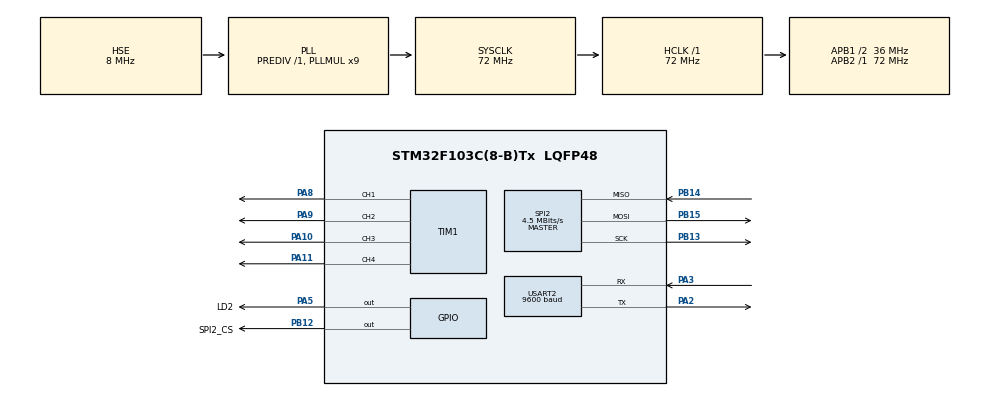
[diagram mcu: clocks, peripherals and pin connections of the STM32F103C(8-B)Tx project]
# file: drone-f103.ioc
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Mcu.Family=STM32F1
Mcu.Name=STM32F103C(8-B)Tx
Mcu.Package=LQFP48
NVIC.PriorityGroup=NVIC_PRIORITYGROUP_4
NVIC.TIM3_IRQn=true\:0\:0\:true\:false\:true\:true\:true\:true
NVIC.TIM4_IRQn=true\:0\:0\:true\:false\:true\:true\:true\:true
NVIC.USART2_IRQn=true\:2\:0\:true\:false\:true\:true\:true\:true
PA10.Signal=S_TIM1_CH3
PA11.Signal=S_TIM1_CH4
PA13.Mode=Serial_Wire
PA13.Signal=SYS_JTMS-SWDIO
PA14.Mode=Serial_Wire
PA14.Signal=SYS_JTCK-SWCLK
PA2.Mode=Asynchronous
PA2.Signal=USART2_TX
PA3.Mode=Asynchronous
PA3.Signal=USART2_RX
PA5.GPIO_Label=LD2
PA5.Signal=GPIO_Output
PA8.Signal=S_TIM1_CH1
PA9.Signal=S_TIM1_CH2
PB12.GPIO_Label=SPI2_CS
PB12.Signal=GPIO_Output
PB13.Mode=Full_Duplex_Master
PB13.Signal=SPI2_SCK
PB14.Mode=Full_Duplex_Master
PB14.Signal=SPI2_MISO
PB15.Mode=Full_Duplex_Master
PB15.Signal=SPI2_MOSI
PC14-OSC32_IN.Mode=LSE-External-Oscillator
PC14-OSC32_IN.Signal=RCC_OSC32_IN
PC15-OSC32_OUT.Mode=LSE-External-Oscillator
PC15-OSC32_OUT.Signal=RCC_OSC32_OUT
PD0-OSC_IN.Mode=HSE-External-Oscillator
PD0-OSC_IN.Signal=RCC_OSC_IN
PD1-OSC_OUT.Mode=HSE-External-Oscillator
PD1-OSC_OUT.Signal=RCC_OSC_OUT
ProjectManager.HeapSize=0x200
ProjectManager.StackSize=0x400
ProjectManager.TargetToolchain=STM32CubeIDE
RCC.AHBFreq_Value=72000000
RCC.APB1CLKDivider=RCC_HCLK_DIV2
RCC.APB1Freq_Value=36000000
RCC.APB1TimFreq_Value=72000000
RCC.APB2Freq_Value=72000000
RCC.APB2TimFreq_Value=72000000
RCC.HCLKFreq_Value=72000000
RCC.PLLMUL=RCC_PLL_MUL9
RCC.PLLSourceVirtual=RCC_PLLSOURCE_HSE
RCC.SYSCLKFreq_VALUE=72000000
RCC.SYSCLKSource=RCC_SYSCLKSOURCE_PLLCLK
RCC.USBFreq_Value=72000000
SH.S_TIM1_CH1.0=TIM1_CH1,PWM Generation1 CH1
SH.S_TIM1_CH2.0=TIM1_CH2,PWM Generation2 CH2
SH.S_TIM1_CH3.0=TIM1_CH3,PWM Generation3 CH3
SH.S_TIM1_CH4.0=TIM1_CH4,PWM Generation4 CH4
SPI2.BaudRatePrescaler=SPI_BAUDRATEPRESCALER_8
SPI2.CalculateBaudRate=4.5 MBits/s
SPI2.Direction=SPI_DIRECTION_2LINES
SPI2.Mode=SPI_MODE_MASTER
SPI2.VirtualType=VM_MASTER
TIM1.AutoReloadPreload=TIM_AUTORELOAD_PRELOAD_ENABLE
TIM1.AutomaticOutput=TIM_AUTOMATICOUTPUT_ENABLE
TIM1.Channel-PWM\ Generation1\ CH1=TIM_CHANNEL_1
TIM1.Channel-PWM\ Generation2\ CH2=TIM_CHANNEL_2
TIM1.Channel-PWM\ Generation3\ CH3=TIM_CHANNEL_3
TIM1.Channel-PWM\ Generation4\ CH4=TIM_CHANNEL_4
TIM3.AutoReloadPreload=TIM_AUTORELOAD_PRELOAD_ENABLE
TIM3.Period=499
TIM3.Prescaler=71
TIM4.Period=999
TIM4.Prescaler=35
USART2.BaudRate=9600
USART2.VirtualMode=VM_ASYNC
VP_TIM3_VS_ClockSourceINT.Mode=Internal
VP_TIM4_VS_ClockSourceINT.Mode=Internal
board=custom

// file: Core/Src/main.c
/* USER CODE BEGIN Header */
/**
 ******************************************************************************
 * @file           : main.c
 * @brief          : Main program body
 ******************************************************************************
 * @attention
 *
 * Copyright (c) 2025 STMicroelectronics.
 * All rights reserved.
 *
 * This software is licensed under terms that can be found in the LICENSE file
 * in the root directory of this software component.
 * If no LICENSE file comes with this software, it is provided AS-IS.
 *
 ******************************************************************************
 */
/* USER CODE END Header */
#include "main.h"
#include "spi.h"
#include "tim.h"
#include "usart.h"
#include "gpio.h"

/* USER CODE BEGIN Includes */
#include <stdio.h>
#include "string.h"
#include "main.h"
#include "tools.h"
#include "usart.h"
#include "hm19.h"
#include "LSM6DS3TR.h"
#include "motor.h"

/* USER CODE END Includes */

/* USER CODE BEGIN PV */
uint8_t rx_data;

/* USER CODE END PV */

void SystemClock_Config(void);

/* USER CODE BEGIN 0 */

void HAL_UART_RxCpltCallback(UART_HandleTypeDef *huart) {
	if (huart->Instance == USART2) {
		if (rx_data == '0') { // Toggle LD2
			HAL_GPIO_TogglePin(GPIOA, GPIO_PIN_5);
		}
		else if(rx_data == '1') { // Test
			IMU_Start();
			HAL_Delay(10);
			Motor_Start();
			Motor_Test();
			Motor_Stop();
		}
		else if(rx_data == '2') { // Start
			IMU_Start();
			Motor_Start();
//			center_duty = MOTOR_TIM->Instance->ARR / 2;
		}
		else if(rx_data == '3') { // Up
			center_duty += (LIMIT_DUTY > center_duty) ? (DELTA_DUTY) : 0;
			if(center_duty > LIMIT_DUTY) center_duty = LIMIT_DUTY;
			HAL_GPIO_TogglePin(GPIOA, GPIO_PIN_5);
		}
		else if(rx_data == '4') { // Down
			center_duty -= (DELTA_DUTY < center_duty) ? (DELTA_DUTY) : 0;
			if(center_duty < DELTA_DUTY) center_duty = 0;
		}
		else if(rx_data == '5') { // Left
			left_gain = -DEGREE_DIF;
			right_gain = DEGREE_DIF;
		}
		else if(rx_data == '6') { // Right
			left_gain = DEGREE_DIF;
			right_gain = -DEGREE_DIF;
		}
		else if(rx_data == '7') { // Front
			front_gain = -DEGREE_DIF;
			back_gain = DEGREE_DIF;
		}
		else if(rx_data == '8') { // Back
			front_gain = DEGREE_DIF;
			back_gain = -DEGREE_DIF;
		}
		else if(rx_data == '9') { // Stop
			Motor_Stop();
			IMU_Stop();
		}
		HAL_UART_Receive_IT(&huart2, &rx_data, 1);
	}
}

void HAL_TIM_PeriodElapsedCallback(TIM_HandleTypeDef *htim) {
	if (htim->Instance == TIM3) {
		LSM6DS3TR_C_IRQ();
	}
	else if (htim->Instance == TIM4) {
		Motor_IRQ();
	}
}

/* USER CODE END 0 */

int main(void)
{

  /* MCU Configuration--------------------------------------------------------*/

  /* Reset of all peripherals, Initializes the Flash interface and the Systick. */
  HAL_Init();

  /* Configure the system clock */
  SystemClock_Config();

  /* Initialize all configured peripherals */
  MX_GPIO_Init();
  MX_USART2_UART_Init();
  MX_SPI2_Init();
  MX_TIM1_Init();
  MX_TIM3_Init();
  MX_TIM4_Init();
  /* USER CODE BEGIN 2 */

//  	GPIO_init();
//  	USART_init();
//  	HM19_init(USART1);
//
//  	USART_print_string (USART2, "[SYSTEM] DEVICE IS READY FOR WORK!\n");
//
//  	Delay_ms(5);
//  	HM19_send_command("AT");
//
//  	static uint8_t first_on = 1;
//	RCC->APB2ENR |= (1 << 2) | (1 << 3) | (1 << 4) | (1 << 14) | (1 << 0);
//
//	// 2. [모터 정지] JTAG 끄기 & 모든 핀 0V 만들기
//	AFIO->MAPR &= ~(7 << 24); // JTAG 설정 초기화
//	AFIO->MAPR |= (2 << 24);  // JTAG 끔 (PB3, PB4 제어권 확보)
//
//	// 모든 핀을 '출력'으로 설정 (PA13,14 제외)
//	GPIOA->CRL = 0x33333333;
//	GPIOA->CRH = 0x44433333;
//	GPIOB->CRL = 0x33333333;
//	GPIOB->CRH = 0x33333333;
//
//	// 모든 핀 끄기 (Low) -> 모터 4개 전부 멈춤!
//	GPIOA->BRR = 0xEFFF;
//	GPIOB->BRR = 0xFFFF;
//
//	// 3. [LED 설정] PC13 출력 설정
//	GPIOC->CRH &= ~(0xF << 20);
//	GPIOC->CRH |= (0x3 << 20);
//
//	// 4. [블루투스] 핀 및 속도 설정 (9600bps)
//	GPIOA->CRH &= ~(0xF << 4);
//	GPIOA->CRH |= (0xB << 4); // TX
//	GPIOA->CRH &= ~(0xF << 8);
//	GPIOA->CRH |= (0x8 << 8);
//	GPIOA->ODR |= (1 << 10); // RX
//
//	USART1->BRR = 833; // 9600bps
//	USART1->CR1 = (1 << 13) | (1 << 3) | (1 << 2);
//
//	HAL_UART_Receive_IT(&huart2, &uart2_rx_buff, 1);
	HAL_GPIO_WritePin(LD2_GPIO_Port, LD2_Pin, GPIO_PIN_SET);

	HAL_Delay(10);

	LSM6DS3TR_C_Init();

	HAL_Delay(10);

//	IMU_Start();

	HAL_UART_Receive_IT(&huart2, &rx_data, 1);

  /* USER CODE END 2 */

  /* Infinite loop */
  /* USER CODE BEGIN WHILE */
	while (1) {
//	  USART_RX_timer();
//
//	  		static char data[128];
//	  		int lng = USART1_read(data, 128);
//
//	  		if (lng > 0) {
//	  			data[lng] = 0;
//	  			USART_printf_string (USART2, "[DEBUG] <- ", data);
//
//	  			if (strcmp("red-on", data) == 0) {
//	  				RED_LED_ON
//	  			} else if (strcmp("red-off", data) == 0) {
//	  				RED_LED_OFF
//	  			} else if (strcmp("green-on", data) == 0) {
//	  				GREEN_LED_ON
//	  			} else if (strcmp("green-off", data) == 0) {
//	  				GREEN_LED_OFF
//	  			} else if (strcmp("blue-on", data) == 0) {
//	  				BLUE_LED_ON
//	  			} else if (strcmp("blue-off", data) == 0) {
//	  				BLUE_LED_OFF
//	  			}
//
//	  			if (first_on) {
//	  				HM19_send_command("AT+NAME?");
//	  				first_on = 0;
//	  			}
//
//	  			USART1_read_completed();
//	  		}
//		if (USART1->SR & (1 << 5)) // 데이터 수신 확인
//				{
//			char cmd = USART1->DR; // 문자 받기
//
//			// '0'을 받으면 -> "OFF" 전송
//			if (cmd == '0') {
//				while (!(USART1->SR & (1 << 7)))
//					;
//				USART1->DR = 'O';
//				while (!(USART1->SR & (1 << 7)))
//					;
//				USART1->DR = 'F';
//				while (!(USART1->SR & (1 << 7)))
//					;
//				USART1->DR = 'F';
//				while (!(USART1->SR & (1 << 7)))
//					;
//				USART1->DR = '\n';
//			}
//			// '1'을 받으면 -> "ON" 전송
//			else if (cmd == '1') {
//				while (!(USART1->SR & (1 << 7)))
//					;
//				USART1->DR = 'O';
//				while (!(USART1->SR & (1 << 7)))
//					;
//				USART1->DR = 'N';
//				while (!(USART1->SR & (1 << 7)))
//					;
//				USART1->DR = '\n';
//			}
//		}
	}
    /* USER CODE END WHILE */

}

void SystemClock_Config(void)
{
  RCC_OscInitTypeDef RCC_OscInitStruct = {0};
  RCC_ClkInitTypeDef RCC_ClkInitStruct = {0};

  /** Initializes the RCC Oscillators according to the specified parameters
  * in the RCC_OscInitTypeDef structure.
  */
  RCC_OscInitStruct.OscillatorType = RCC_OSCILLATORTYPE_HSE;
  RCC_OscInitStruct.HSEState = RCC_HSE_ON;
  RCC_OscInitStruct.HSEPredivValue = RCC_HSE_PREDIV_DIV1;
  RCC_OscInitStruct.HSIState = RCC_HSI_ON;
  RCC_OscInitStruct.PLL.PLLState = RCC_PLL_ON;
  RCC_OscInitStruct.PLL.PLLSource = RCC_PLLSOURCE_HSE;
  RCC_OscInitStruct.PLL.PLLMUL = RCC_PLL_MUL9;
  if (HAL_RCC_OscConfig(&RCC_OscInitStruct) != HAL_OK)
  {
    Error_Handler();
  }

  /** Initializes the CPU, AHB and APB buses clocks
  */
  RCC_ClkInitStruct.ClockType = RCC_CLOCKTYPE_HCLK|RCC_CLOCKTYPE_SYSCLK
                              |RCC_CLOCKTYPE_PCLK1|RCC_CLOCKTYPE_PCLK2;
  RCC_ClkInitStruct.SYSCLKSource = RCC_SYSCLKSOURCE_PLLCLK;
  RCC_ClkInitStruct.AHBCLKDivider = RCC_SYSCLK_DIV1;
  RCC_ClkInitStruct.APB1CLKDivider = RCC_HCLK_DIV2;
  RCC_ClkInitStruct.APB2CLKDivider = RCC_HCLK_DIV1;

  if (HAL_RCC_ClockConfig(&RCC_ClkInitStruct, FLASH_LATENCY_2) != HAL_OK)
  {
    Error_Handler();
  }
}

/* USER CODE BEGIN 4 */
void GPIO_init(void) {
	RCC->APB2ENR |= RCC_APB2ENR_AFIOEN;
	RCC->APB2ENR |= RCC_APB2ENR_IOPAEN;
	RCC->APB2ENR |= RCC_APB2ENR_IOPBEN;
	RCC->APB2ENR |= RCC_APB2ENR_IOPCEN;
//	RCC->APB2ENR |= RCC_APB2ENR_IOPDEN;
//	RCC->APB2ENR |= RCC_APB2ENR_IOPEEN;

//	AFIO->MAPR |= AFIO_MAPR_USART2_REMAP;

	GPIO_setup(GPIOA, POWER_KEY, OUTPUT_50MHZ_PP);
//	GPIO_setup(GPIOE, BT_RESET, OUTPUT_50MHZ_PP);
	GPIO_setup(GPIOB, BT_KEY, OUTPUT_50MHZ_PP);

	GPIOA->BSRR = (1 << POWER_KEY);
//	GPIOE->BSRR = (1 << BT_RESET);
	GPIOB->BSRR = (1 << BT_KEY);

	// LEDS
	GPIO_setup(GPIOB, RED_LED, OUTPUT_50MHZ_PP);
	GPIO_setup(GPIOB, GREEN_LED, OUTPUT_50MHZ_PP);
	GPIO_setup(GPIOB, BLUE_LED, OUTPUT_50MHZ_PP);
	RED_LED_OFF
	GREEN_LED_OFF
	BLUE_LED_OFF
}

//void USART_init(void) {
//	USART_setup(USART1, A9_TX_A10_RX, 9600, 2);
//	USART_setup(USART2, A2_TX_A3_RX, 115200, 2);
//
//	NVIC_EnableIRQ(USART1_IRQn);
//	NVIC_SetPriority(USART1_IRQn, 1);
//
//	static char ble_usart_rx_buff[128] = { 0 };
//	Set_USART_buff(USART1, ble_usart_rx_buff);
//}
/* USER CODE END 4 */

void Error_Handler(void)
{
	__disable_irq();
	while (1) {
	}
}
